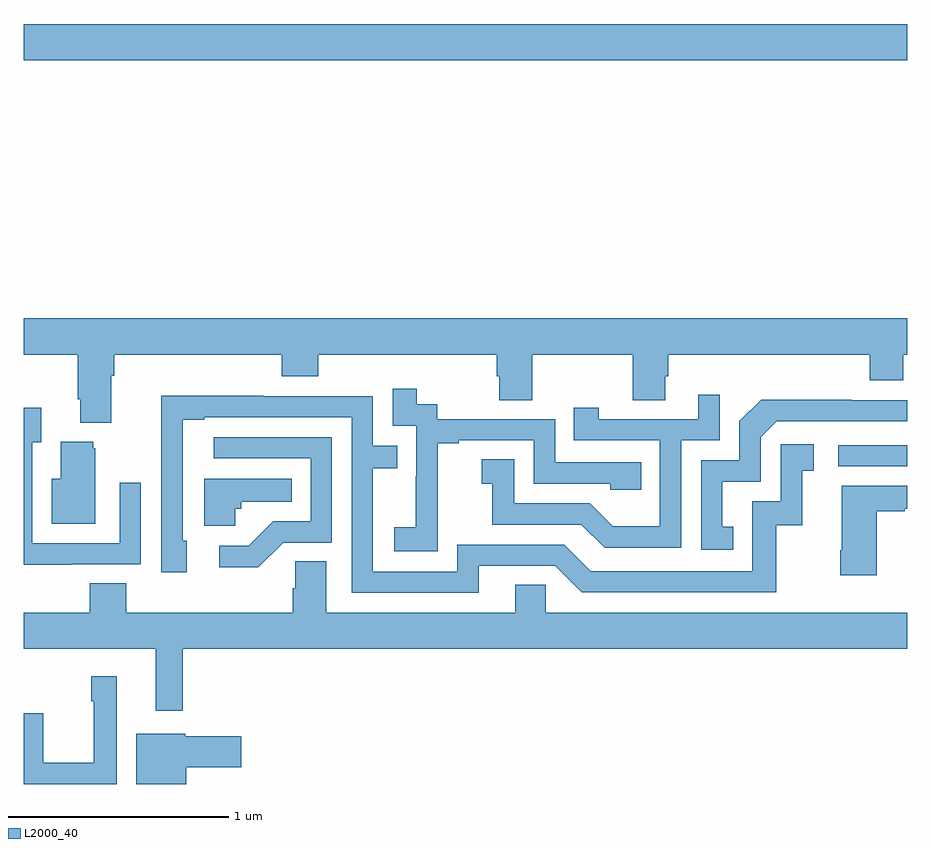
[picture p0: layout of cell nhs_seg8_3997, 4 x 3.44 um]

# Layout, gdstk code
import gdstk
lib = gdstk.Library(unit=1e-6, precision=1e-09)
def R(c, l, rs):  # rectangles x0, y0, x1, y1
    for r in rs: c.add(gdstk.rectangle(r[:2], r[2:], *l))
def P(c, l, *ps):  # polygons
    for p in ps: c.add(gdstk.Polygon(p, *l))
L2000_40 = (2000, 40)

nhs_seg8_3997 = lib.new_cell('nhs_seg8_3997')
R(nhs_seg8_3997, L2000_40, [(360.687,1105.338,361,1105.434), (357,1107.176,361,1107.34)])
P(nhs_seg8_3997, L2000_40, [(357.397,1105.748),(357.41,1105.748),(357.41,1105.844),(358.169,1105.844),(358.169,1105.745),(358.334,1105.745),(358.334,1105.844),(359.141,1105.844),(359.141,1105.746),(359.153,1105.746),(359.153,1105.636),(359.301,1105.636),(359.301,1105.844),(359.758,1105.844),(359.758,1105.636),(359.905,1105.636),(359.905,1105.746),(359.918,1105.746),(359.918,1105.844),(360.83,1105.844),(360.83,1105.727),(360.982,1105.727),(360.982,1105.844),(361,1105.844),(361,1106.008),(357,1106.008),(357,1105.844),(357.245,1105.844),(357.245,1105.642),(357.257,1105.642),(357.257,1105.535),(357.397,1105.535)],
  [(358.875,1105.159),(358.874,1105.159),(358.874,1105.443),(358.969,1105.443),(358.969,1105.455),(359.31,1105.455),(359.31,1105.26),(359.655,1105.26),(359.655,1105.233),(359.795,1105.233),(359.795,1105.356),(359.406,1105.356),(359.406,1105.551),(358.872,1105.551),(358.872,1105.62),(358.78,1105.62),(358.78,1105.69),(358.671,1105.69),(358.671,1105.521),(358.776,1105.521),(358.776,1105.292),(358.775,1105.292),(358.775,1105.063),(358.677,1105.063),(358.677,1104.953),(358.875,1104.953)],
  [(359.976,1105.455),(360.15,1105.455),(360.15,1105.663),(360.053,1105.663),(360.053,1105.551),(359.602,1105.551),(359.602,1105.603),(359.491,1105.603),(359.491,1105.455),(359.88,1105.455),(359.88,1105.066),(359.666,1105.066),(359.562,1105.17),(359.22,1105.17),(359.22,1105.369),(359.073,1105.369),(359.073,1105.259),(359.122,1105.259),(359.122,1105.074),(359.525,1105.074),(359.63,1104.969),(359.976,1104.969)],
  [(359.059,1104.888),(359.406,1104.888),(359.526,1104.768),(360.406,1104.768),(360.406,1105.071),(360.524,1105.071),(360.524,1105.317),(360.577,1105.317),(360.577,1105.438),(360.426,1105.438),(360.426,1105.179),(360.297,1105.179),(360.297,1104.864),(359.568,1104.864),(359.448,1104.984),(358.962,1104.984),(358.962,1104.861),(358.581,1104.861),(358.581,1105.33),(358.691,1105.33),(358.691,1105.431),(358.581,1105.431),(358.581,1105.656),(358.085,1105.656),(358.085,1105.658),(357.622,1105.658),(357.622,1105.351),(357.624,1105.351),(357.624,1104.858),(357.739,1104.858),(357.739,1105.002),(357.72,1105.002),(357.72,1105.548),(357.817,1105.548),(357.817,1105.56),(358.485,1105.56),(358.485,1104.765),(359.059,1104.765)],
  [(360.212,1105.065),(360.163,1105.065),(360.163,1105.269),(360.336,1105.269),(360.336,1105.47),(360.408,1105.542),(361,1105.542),(361,1105.638),(360.746,1105.638),(360.746,1105.64),(360.338,1105.64),(360.24,1105.542),(360.24,1105.365),(360.066,1105.365),(360.066,1104.96),(360.212,1104.96)],
  [(357.215,1104.894),(357.531,1104.894),(357.531,1105.264),(357.435,1105.264),(357.435,1104.99),(357.039,1104.99),(357.039,1105.447),(357.079,1105.447),(357.079,1105.603),(357,1105.603),(357,1104.893),(357.215,1104.893)],
  [(358.176,1104.993),(358.395,1104.993),(358.395,1105.47),(357.861,1105.47),(357.861,1105.374),(358.299,1105.374),(358.299,1105.089),(358.13,1105.089),(358.019,1104.978),(357.885,1104.978),(357.885,1104.881),(358.063,1104.881)],
  [(357.325,1105.419),(357.314,1105.419),(357.314,1105.45),(357.167,1105.45),(357.167,1105.282),(357.128,1105.282),(357.128,1105.079),(357.325,1105.079)],
  [(357.957,1105.146),(357.984,1105.146),(357.984,1105.178),(358.214,1105.178),(358.214,1105.282),(357.818,1105.282),(357.818,1105.07),(357.957,1105.07)],
  [(360.862,1105.135),(360.989,1105.135),(360.989,1105.145),(361,1105.145),(361,1105.249),(360.704,1105.249),(360.704,1104.958),(360.697,1104.958),(360.697,1104.846),(360.862,1104.846)],
  [(357.721,1104.512),(361,1104.512),(361,1104.676),(359.364,1104.676),(359.364,1104.803),(359.225,1104.803),(359.225,1104.676),(358.369,1104.676),(358.369,1104.908),(358.23,1104.908),(358.23,1104.785),(358.217,1104.785),(358.217,1104.676),(357.464,1104.676),(357.464,1104.809),(357.299,1104.809),(357.299,1104.676),(357,1104.676),(357,1104.512),(357.599,1104.512),(357.599,1104.231),(357.721,1104.231)],
  [(357.421,1104.388),(357.307,1104.388),(357.307,1104.275),(357.317,1104.275),(357.317,1103.996),(357.088,1103.996),(357.088,1104.22),(357,1104.22),(357,1103.9),(357.421,1103.9)],
  [(357.736,1103.975),(357.985,1103.975),(357.985,1104.117),(357.732,1104.117),(357.732,1104.127),(357.509,1104.127),(357.509,1103.9),(357.736,1103.9)])

lib.write_gds('nhs_seg8_3997.gds')
